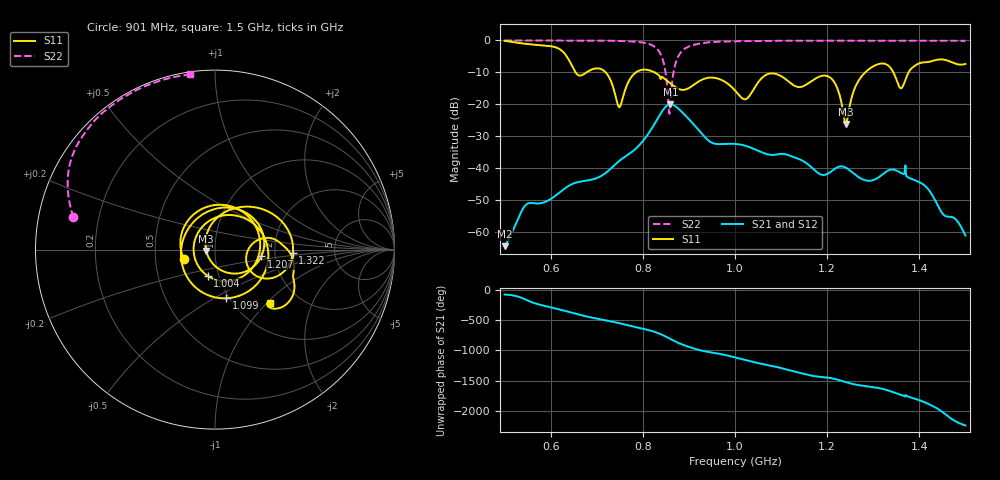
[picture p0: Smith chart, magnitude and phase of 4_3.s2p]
! TOUCHSTONE file generated by CST MICROWAVE STUDIO
! Date and time: Fri Dec 11 13:53:00 2020
! Project name: Scenario_1_Planar_Body_Tissue_Out_of_Line_v2.cst
! Parameters = {dy1=-294.1; L_HA=400; Ltissue=700; MT=2.54; Rad_Dielectric=30; Rad_Lower=7.3; Rad_Upper=30; Wtissue=700; a_HA=580; a_WG=246; b_HA=500; b_WG=121; c_HA=0; c_WG=187; d_feed=85; dx1=520; h_feed=15; h_lower=18; h_upper=40; hfat=3; hgap=25; hmuscle=50; hskin=1.5}
! Header version: 2018
! Port assignment regex: !\s*Touchstone port\s*([0-9]+)\s*=\s*(CST MWS port|CST DS port)\s*([0-9]+|Zmin|Zmax)\s*\(\"(.*)\"\)(\s*mode\s*([0-9]+))?.*
! Touchstone port assignment:
! Touchstone port 1 = CST MWS port 1 ("")
! Touchstone port 2 = CST MWS port 2 ("")
# GHz S DB R 50
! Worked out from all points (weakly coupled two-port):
!   1003 points, 500 MHz to 1.5 GHz, reference 50 ohm
!   highest |S21| = -20.03 dB at 860 MHz (marker M1); lowest = -64.5 dB at 500 MHz (marker M2)
!   lowest |S11| = -26.2 dB at 1.241 GHz (marker M3), VSWR 1.10, Z = 45.4 - j0.694 ohm
!   |S11| at or under -10 dB: 719.3 MHz to 785.2 MHz (65.85 MHz wide, 8.75 % of centre); 825.2 MHz to 1.283 GHz (457.5 MHz wide, 43.4 % of centre); 1.344 GHz to 1.377 GHz (33.15 MHz wide, 2.44 % of centre) (the widest 3 of 4)
!   |S22| runs from -23.0 to 0.0 dB; largest |S21 - S12| = 0.0038
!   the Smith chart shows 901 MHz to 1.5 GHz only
!   S11 on the Smith chart (normalised r, x): 901 MHz: 0.70, -0.08; 1.004 GHz: 0.88, -0.27; 1.099 GHz: 0.97, -0.57; 1.207 GHz: 1.69, -0.14; 1.322 GHz: 2.53, -0.11; 1.5 GHz: 1.44, -1.05
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0.5  -0.10 -122.0  -64.48 -75.5  -64.48 -75.5  -0.01 151.2
0.601  -1.82 -177.2  -49.60 71.5  -49.61 71.4  -0.02 144.1
0.667  -10.94 156.3  -44.18 -59.2  -44.18 -59.1  -0.04 138.4
0.715  -9.44 113.8  -41.98 -133.7  -41.98 -133.8  -0.08 133.0
0.749  -20.93 -38.1  -37.74 169.7  -37.74 169.7  -0.16 127.7
0.788  -9.74 160.8  -33.46 100.1  -33.46 100.1  -0.45 117.8
0.834  -10.82 56.5  -24.04 3.9  -24.04 3.9  -3.18 83.6
0.86  -13.51 -13.6  -20.03 -92.1  -20.03 -92.1  -19.05 -105.1
0.901  -14.84 -162.4  -24.84 136.3  -24.84 136.3  -1.84 167.2
0.935  -11.93 79.8  -30.36 65.2  -30.36 65.2  -0.74 153.1
1  -15.69 -92.4  -32.43 -34.6  -32.43 -34.6  -0.26 140.2
1.004  -16.36 -105.4  -32.48 -42.3  -32.48 -42.3  -0.25 139.7
1.049  -13.38 63.8  -34.49 -127.5  -34.49 -127.5  -0.17 134.6
1.099  -11.11 -77.1  -35.55 151.2  -35.54 151.2  -0.12 129.8
1.167  -12.64 83.7  -39.91 22.0  -39.92 22.0  -0.10 124.2
1.207  -11.68 -8.4  -41.25 -15.9  -41.26 -15.9  -0.09 121.1
1.241  -26.16 -171.1  -39.92 -86.3  -39.92 -86.3  -0.09 118.6
1.27  -12.21 67.3  -43.00 -135.7  -43.00 -135.7  -0.08 116.4
1.322  -7.25 -2.3  -41.78 160.8  -41.78 160.8  -0.08 112.4
1.334  -8.05 -19.3  -40.66 133.8  -40.66 133.9  -0.09 111.5
1.36  -15.01 -10.5  -41.51 66.7  -41.51 66.6  -0.09 109.5
1.5  -7.36 -44.0  -61.14 -80.8  -61.14 -80.8  -0.13 98.0
